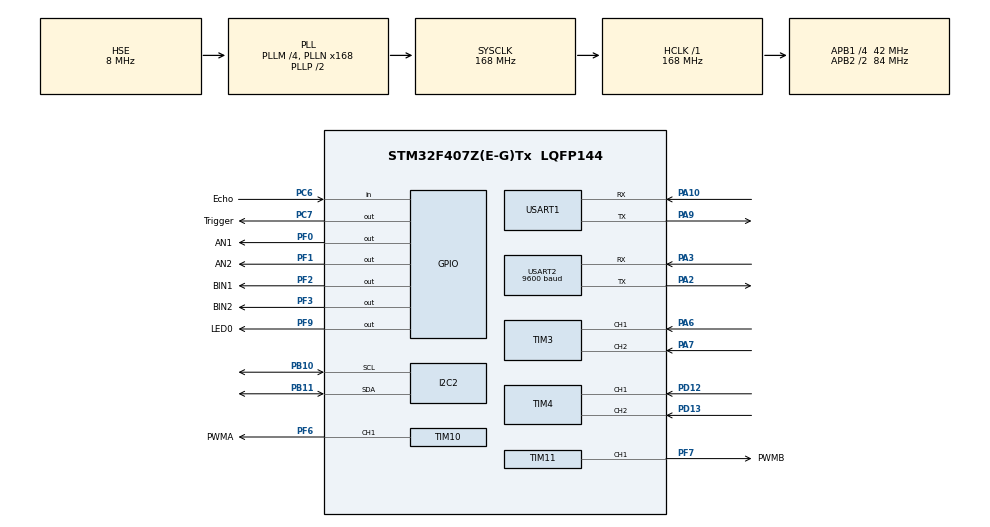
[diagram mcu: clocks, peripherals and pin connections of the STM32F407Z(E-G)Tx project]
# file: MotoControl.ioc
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Mcu.Family=STM32F4
Mcu.Name=STM32F407Z(E-G)Tx
Mcu.Package=LQFP144
NVIC.PriorityGroup=NVIC_PRIORITYGROUP_4
NVIC.TIM6_DAC_IRQn=true\:0\:0\:false\:false\:true\:true\:true\:true
NVIC.USART1_IRQn=true\:0\:0\:false\:false\:true\:true\:true\:true
NVIC.USART2_IRQn=true\:0\:0\:false\:false\:true\:true\:true\:true
PA10.Mode=Asynchronous
PA10.Signal=USART1_RX
PA13.Mode=Serial_Wire
PA13.Signal=SYS_JTMS-SWDIO
PA14.Mode=Serial_Wire
PA14.Signal=SYS_JTCK-SWCLK
PA2.Mode=Asynchronous
PA2.Signal=USART2_TX
PA3.Mode=Asynchronous
PA3.Signal=USART2_RX
PA6.Signal=S_TIM3_CH1
PA7.Signal=S_TIM3_CH2
PA9.Mode=Asynchronous
PA9.Signal=USART1_TX
PB10.Mode=I2C
PB10.Signal=I2C2_SCL
PB11.Mode=I2C
PB11.Signal=I2C2_SDA
PC6.GPIO_Label=Echo
PC6.Signal=GPIO_Input
PC7.GPIO_Label=Trigger
PC7.Signal=GPIO_Output
PD12.Signal=S_TIM4_CH1
PD13.Signal=S_TIM4_CH2
PF0.GPIO_Label=AN1
PF0.Signal=GPIO_Output
PF1.GPIO_Label=AN2
PF1.Signal=GPIO_Output
PF2.GPIO_Label=BIN1
PF2.Signal=GPIO_Output
PF3.GPIO_Label=BIN2
PF3.Signal=GPIO_Output
PF6.GPIO_Label=PWMA
PF6.Signal=S_TIM10_CH1
PF7.GPIO_Label=PWMB
PF7.Signal=S_TIM11_CH1
PF9.GPIO_Label=LED0
PF9.Signal=GPIO_Output
PH0-OSC_IN.Mode=HSE-External-Oscillator
PH0-OSC_IN.Signal=RCC_OSC_IN
PH1-OSC_OUT.Mode=HSE-External-Oscillator
PH1-OSC_OUT.Signal=RCC_OSC_OUT
ProjectManager.HeapSize=0x200
ProjectManager.StackSize=0x400
ProjectManager.TargetToolchain=MDK-ARM V5.32
RCC.48MHZClocksFreq_Value=84000000
RCC.AHBFreq_Value=168000000
RCC.APB1CLKDivider=RCC_HCLK_DIV4
RCC.APB1Freq_Value=42000000
RCC.APB1TimFreq_Value=84000000
RCC.APB2CLKDivider=RCC_HCLK_DIV2
RCC.APB2Freq_Value=84000000
RCC.APB2TimFreq_Value=168000000
RCC.CortexFreq_Value=168000000
RCC.HCLKFreq_Value=168000000
RCC.HSE_VALUE=8000000
RCC.HSI_VALUE=16000000
RCC.LSE_VALUE=32768
RCC.PLLM=4
RCC.PLLN=168
RCC.PLLSourceVirtual=RCC_PLLSOURCE_HSE
RCC.SYSCLKFreq_VALUE=168000000
RCC.SYSCLKSource=RCC_SYSCLKSOURCE_PLLCLK
RCC.VCOOutputFreq_Value=336000000
SH.S_TIM10_CH1.0=TIM10_CH1,PWM Generation1 CH1
SH.S_TIM11_CH1.0=TIM11_CH1,PWM Generation1 CH1
SH.S_TIM3_CH1.0=TIM3_CH1,Encoder_Interface
SH.S_TIM3_CH2.0=TIM3_CH2,Encoder_Interface
SH.S_TIM4_CH1.0=TIM4_CH1,Encoder_Interface
SH.S_TIM4_CH2.0=TIM4_CH2,Encoder_Interface
TIM10.Channel=TIM_CHANNEL_1
TIM10.Period=99
TIM10.Prescaler=83
TIM11.Channel=TIM_CHANNEL_1
TIM11.Period=99
TIM11.Prescaler=83
TIM2.Prescaler=167
TIM3.EncoderMode=TIM_ENCODERMODE_TI12
TIM4.EncoderMode=TIM_ENCODERMODE_TI12
TIM6.AutoReloadPreload=TIM_AUTORELOAD_PRELOAD_ENABLE
TIM6.Period=9999
TIM6.Prescaler=83
USART1.VirtualMode=VM_ASYNC
USART2.BaudRate=9600
USART2.VirtualMode=VM_ASYNC
VP_TIM10_VS_ClockSourceINT.Mode=Enable_Timer
VP_TIM11_VS_ClockSourceINT.Mode=Enable_Timer
VP_TIM2_VS_ClockSourceINT.Mode=Internal
VP_TIM6_VS_ClockSourceINT.Mode=Enable_Timer
board=custom

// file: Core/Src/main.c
/* USER CODE BEGIN Header */
/**
  ******************************************************************************
  * @file           : main.c
  * @brief          : Main program body
  ******************************************************************************
  * @attention
  *
  * Copyright (c) 2026 STMicroelectronics.
  * All rights reserved.
  *
  * This software is licensed under terms that can be found in the LICENSE file
  * in the root directory of this software component.
  * If no LICENSE file comes with this software, it is provided AS-IS.
  *
  ******************************************************************************
  */
/* USER CODE END Header */
#include "main.h"
#include "i2c.h"
#include "tim.h"
#include "usart.h"
#include "gpio.h"

/* USER CODE BEGIN PV */
#define PI 3.1415926f

// --- 小车物理参数配置区（以后换硬件只改这里） ---
#define ENCODER_PPR         13.0f   // 编码器线数 (电机转一圈的脉冲数)
#define ENCODER_MULTIPLIER  4.0f    // 四倍频计数 (A/B相上下沿都算)
#define GEAR_RATIO          20.0f   // 减速比
#define WHEEL_RADIUS_MM     24.0f   // 轮子半径 (毫米) (2.4cm = 24mm)
#define CONTROL_PERIOD_MS   10.0f   // PID控制周期 (毫秒)，对应TIM6的中断时间

// --- 自动推导的常量 ---

// 轮子转一圈总共的脉冲数： 13 * 4 * 20 = 1040
#define PULSES_PER_WHEEL_REV (ENCODER_PPR * ENCODER_MULTIPLIER * GEAR_RATIO)

// 轮子的周长 (毫米)： 2 * PI * 24 ≈ 150.8 mm
#define WHEEL_CIRCUMFERENCE  (2.0f * PI * WHEEL_RADIUS_MM)

// 最终的速度换算系数
// 公式推导： (1000ms / 控制周期) * (轮子周长 / 轮子一圈脉冲数)
// 现在代入： (1000 / 10) * (150.8 / 1040) = 100 * 0.145 = 14.5
#define SPEED_COEFFICIENT    ((1000.0f / CONTROL_PERIOD_MS) * (WHEEL_CIRCUMFERENCE / PULSES_PER_WHEEL_REV))

// --- 1. 电机和PID结构体 ---
typedef struct {
    float target_speed; // 目标速度 (mm/s)
    float actual_speed; // 实际速度 (mm/s)
    float Kp, Ki, Kd;
    float error, last_error, prev_error;
    float pid_out;
    TIM_HandleTypeDef* encoder_tim;
    int16_t last_count;
	  float total_pulses;

} Wheel_t;

// 实例化左右轮（假设左轮用TIM3，右轮用TIM4，PID参数先给个基础值）
Wheel_t Wheel_Left  = {0, 0, 0.15f, 0.05f, 0.0, 0, 0, 0, 0, &htim3, 0, 0};
Wheel_t Wheel_Right = {0, 0, 0.15f, 0.05f, 0.0, 0, 0, 0, 0, &htim4, 0, 0};

// --- 2. 串口接收相关变量 ---
uint8_t rx_data;          // 接收单个字节
uint8_t rx_data2;          // 接收单个字节
char rx_buffer[50];       // 接收字符串缓冲区
uint8_t rx_index = 0;     // 缓冲区索引
uint8_t rx_flag = 0;      // 接收完成标志

// --- 3. 串口打印计时 ---
uint32_t print_time = 0;

uint8_t square_state = 0; // 0:直行, 1:停止+准备转向, 2:转向, 3:停止+准备直行, 4:完成

// 串口2协议接收状态机
typedef enum {
    WAIT_HEADER1,
    WAIT_HEADER2,
    WAIT_LEN,
    WAIT_PAYLOAD,
    WAIT_CHECKSUM
} ParseState;

ParseState uart2_state = WAIT_HEADER1;
uint8_t uart2_rx_buf[20]; // 接收缓冲区
uint8_t uart2_rx_index = 0;
uint32_t uart2_tx_time = 0; // 串口2发送反馈的定时器
uint32_t last_rx_tick = 0;

// 累加和校验函数
uint8_t calc_checksum(uint8_t *data, uint8_t len) {
    uint8_t sum = 0;
    for (uint8_t i = 0; i < len; i++) sum += data[i];
    return sum;
}

float target_yaw = 0.0;       // 目标航向 (起步时记录一次)
uint8_t first_yaw_flag = 0;   // 标志位：是否记录了初始朝向

// 超声波引脚定义（根据你的实际接线修改）
#define TRIG_PIN GPIO_PIN_7
#define TRIG_PORT GPIOC
#define ECHO_PIN GPIO_PIN_6
#define ECHO_PORT GPIOC

float current_distance = 0.0f; // 存放当前距离 (厘米)

/* USER CODE END PV */

void SystemClock_Config(void);

/* USER CODE BEGIN 0 */
#include <stdio.h>
#include <stdlib.h> // 用于 atof/atoi
#include <string.h>
#include <math.h>
#include "MPU6050.h"
#include "inv_mpu.h"
#include "inv_mpu_dmp_motion_driver.h"

// 超声波测距函数
float Get_Distance(void)
{
    uint32_t timeout = 0;
    uint32_t start_time = 0;
    uint32_t end_time = 0;

    // 1. 给 Trig 一个 10us 的高电平脉冲
    HAL_GPIO_WritePin(TRIG_PORT, TRIG_PIN, GPIO_PIN_SET);
    delay_us(10);
    HAL_GPIO_WritePin(TRIG_PORT, TRIG_PIN, GPIO_PIN_RESET);

    // 2. 等待 Echo 变高 (带有超时防死锁)
    while (HAL_GPIO_ReadPin(ECHO_PORT, ECHO_PIN) == GPIO_PIN_RESET) {
        timeout++;
        if (timeout > 100000) return 0.0f; // 超时，返回 0
    }

    // 3. 记录高电平开始的时间
    __HAL_TIM_SET_COUNTER(&htim2, 0); // 清零定时器
    HAL_TIM_Base_Start(&htim2);       // 开启定时器

    // 4. 等待 Echo 变低 (带有超时防死锁)
    while (HAL_GPIO_ReadPin(ECHO_PORT, ECHO_PIN) == GPIO_PIN_SET) {
        // 如果计数器超过 60000（即 60ms），说明距离超过 10 米，或者模块坏了
        if (__HAL_TIM_GET_COUNTER(&htim2) > 60000) {
            HAL_TIM_Base_Stop(&htim2);
            return 0.0f;
        }
    }

    // 5. 记录结束时间
    end_time = __HAL_TIM_GET_COUNTER(&htim2);
    HAL_TIM_Base_Stop(&htim2); // 关闭定时器

    // 6. 计算距离（单位：厘米）
    // 时间单位是微秒，声速 340m/s = 34cm/ms = 0.034cm/us
    // 距离 = (高电平时间 * 0.034) / 2
    float dist = (end_time * 0.034f) / 2.0f;

    // 7. 简单滤波，剔除异常值（比如超过 4 米或小于 2 厘米）
    if (dist > 400.0f || dist < 2.0f) {
        return 0.0f;
    }

    return dist;
}

// 计算单个轮子的PID
void Calc_Wheel_PID(Wheel_t* wheel) {

    // 1. 读取编码器并计算实际速度
    int16_t current_count = (int16_t)__HAL_TIM_GET_COUNTER(wheel->encoder_tim);
    int16_t speed_pulses = current_count - wheel->last_count;
    wheel->last_count = current_count;

		if (speed_pulses > 20 || speed_pulses < -20) {
			HAL_GPIO_TogglePin(GPIOF, GPIO_PIN_9); // 如果卡顿时 LED 闪了，就100%是编码器干扰
	  }

		if (speed_pulses > 50) speed_pulses = 50;
    if (speed_pulses < -50) speed_pulses = -50;

		wheel->total_pulses += (float)speed_pulses;
    wheel->actual_speed = (float)speed_pulses * 14.5; // 10ms周期的系数

		//wheel->pid_out = wheel->target_speed;
	  //return;

    // 2. 计算误差
    wheel->error = wheel->target_speed - wheel->actual_speed;

    // 3. 增量式 PID
    float p_term = wheel->Kp * (wheel->error - wheel->last_error);
    float i_term = wheel->Ki * wheel->error;
    float d_term = wheel->Kd * (wheel->error - 2 * wheel->last_error + wheel->prev_error);

    wheel->pid_out += (p_term + i_term + d_term);

    // 4. 限幅 (-99 到 99)
    if (wheel->pid_out > 99.0)  wheel->pid_out = 99.0;
    if (wheel->pid_out < -99.0) wheel->pid_out = -99.0;

    // 5. 更新历史
    wheel->prev_error = wheel->last_error;
    wheel->last_error = wheel->error;
}

// 重定向 printf 到 USART1
#ifdef __GNUC__
#define PUTCHAR_PROTOTYPE int __io_putchar(int ch)
#else
#define PUTCHAR_PROTOTYPE int fputc(int ch, FILE *f)
#endif

PUTCHAR_PROTOTYPE
{
    // 注意：这里默认你用 USART1 打印，如果你的串口是其他句柄，把 huart1 换掉
    HAL_UART_Transmit(&huart1, (uint8_t *)&ch, 1, HAL_MAX_DELAY);
    return ch;
}

/* USER CODE END 0 */

int main(void)
{

  /* MCU Configuration--------------------------------------------------------*/

  /* Reset of all peripherals, Initializes the Flash interface and the Systick. */
  HAL_Init();

  /* Configure the system clock */
  SystemClock_Config();

  /* Initialize all configured peripherals */
  MX_GPIO_Init();
  MX_TIM3_Init();
  MX_TIM4_Init();
  MX_TIM6_Init();
  MX_TIM10_Init();
  MX_TIM11_Init();
  MX_USART1_UART_Init();
  MX_USART2_UART_Init();
  MX_I2C2_Init();
  MX_TIM2_Init();
  /* USER CODE BEGIN 2 */
	// 1. 启动 PWM (左轮PF6->TIM10, 右轮PF7->TIM11)
  HAL_TIM_PWM_Start(&htim10, TIM_CHANNEL_1);
  HAL_TIM_PWM_Start(&htim11, TIM_CHANNEL_1);

  // 2. 启动编码器 (左轮TIM3, 右轮TIM4)
  HAL_TIM_Encoder_Start(&htim3, TIM_CHANNEL_ALL);
  HAL_TIM_Encoder_Start(&htim4, TIM_CHANNEL_ALL);

  // 3. 启动 PID 心跳定时器 (TIM6, 10ms)
  HAL_TIM_Base_Start_IT(&htim6);

  // 4. 启动串口中断接收（接收树莓派指令）
  HAL_UART_Receive_IT(&huart1, &rx_data, 1);
	HAL_UART_Receive_IT(&huart2, &rx_data2, 1);

	// ==================== MPU6050 通信测试 (I2C2) ====================
  /*uint8_t mpu_id = 0;
  uint8_t tx_data = 0x75; // 要读取的寄存器地址 (WHO_AM_I)

  // 注意：这里换成了 &hi2c2
  HAL_StatusTypeDef status = HAL_I2C_Master_Transmit(&hi2c2, (0x68 << 1), &tx_data, 1, 100);

  if (status == HAL_OK) {
      // 注意：这里也换成了 &hi2c2
      status = HAL_I2C_Master_Receive(&hi2c2, (0x68 << 1), &mpu_id, 1, 100);
      if (status == HAL_OK) {
          char msg[50];
          sprintf(msg, "MPU6050 ID: 0x%02X\r\n", mpu_id);
          HAL_UART_Transmit(&huart1, (uint8_t*)msg, strlen(msg), 100);
      } else {
          HAL_UART_Transmit(&huart1, (uint8_t*)"I2C Read Failed\r\n", 17, 100);
      }
  } else {
      HAL_UART_Transmit(&huart1, (uint8_t*)"I2C Transmit Failed\r\n", 22, 100);
  }*/
  // ========================================================
	uint8_t tx_buf[100];
  uint8_t mpu_id = 0;
	//IIC_Init();
  delay_init();
  HAL_UART_Transmit(&huart1, (uint8_t *)"Init MPU6050...\r\n", 17, 100);
  MPU6050_initialize();
  HAL_UART_Transmit(&huart1, (uint8_t *)"Init DMP...\r\n", 13, 100);
  DMP_Init();
  HAL_UART_Transmit(&huart1, (uint8_t *)"DMP Init Success!\r\n", 19, 100);

	//int ret = i2cRead(0x68, 0x75, 1, &mpu_id);

  /* USER CODE END 2 */

  /* Infinite loop */
  /* USER CODE BEGIN WHILE */
	float target_distance = 500.0f * 6.896f; // 直行 500mm 需要的脉冲数 (3448)
  float target_angle = 812.0f;             // 转 90 度需要的脉冲数 (假设轮距 150mm)
  uint8_t square_round = 0;                // 记录走了几条边了
  uint8_t state = 0;                       // 状态机
  uint32_t state_timer = 0;
	uint8_t raw_buf[14];

  while (1)
  {
		  //直接读取6轴数据
		  /*MPU6050_Get_Accelscope();
		  MPU6050_Get_Gyroscope();
      sprintf(tx_buf, "Accel:%d %d %d\r\n", accel[0], accel[1], accel[2]);
      HAL_UART_Transmit(&huart1, (uint8_t*)tx_buf, strlen(tx_buf), 100);
      sprintf(tx_buf, "Gyro: %d %d %d\r\n", gyro[0], gyro[1], gyro[2]);
      HAL_UART_Transmit(&huart1, (uint8_t*)tx_buf, strlen(tx_buf), 100);
      HAL_UART_Transmit(&huart1, (uint8_t*)"\r\n", 2, 100);
		  delay_ms(200);
			continue;*/

		  //读取dmp数据
		  Read_DMP();
		  HAL_Delay(10); // 让出 CPU，防止读太频繁

      // 记录第一次静止时的 Yaw 作为初始基准 (0 度)
      if (!first_yaw_flag && Yaw != 0.0) {
          target_yaw = Yaw;
          first_yaw_flag = 1;
      }

#if 0
      // ==================== 新增：航向修正逻辑 ====================
      // 只有当树莓派发来“直行”指令时，才开启航向锁定
      // 如果左右轮目标速度相近（说明没有在转弯）
      if (fabs(Wheel_Left.target_speed) > 10 && fabs(Wheel_Left.target_speed - Wheel_Right.target_speed) < 10)
      {
          // 计算当前航向与目标航向的偏差
          float error_yaw = target_yaw - Yaw;

          // 处理过零度问题（比如从 179 度变到 -179 度）
          if (error_yaw > 180.0f)  error_yaw -= 360.0f;
          if (error_yaw < -180.0f) error_yaw += 360.0f;

          // 比例系数 (Kp)，如果转得太猛就调小，太迟钝就调大
          float kp_yaw = 1.5f;

          // 计算修正量并叠加到左右轮的 PID 目标上
          float correction = error_yaw * kp_yaw;

          Wheel_Left.target_speed  += correction;
          Wheel_Right.target_speed -= correction;

          // 防止修正过度导致速度爆表
          if (Wheel_Left.target_speed > 200) Wheel_Left.target_speed = 200;
          if (Wheel_Right.target_speed > 200) Wheel_Right.target_speed = 200;
      } else {
          // 如果正在原地转弯或倒车，就不断刷新基准航向，免得转完弯后往回疯狂修正
          target_yaw = Yaw;
      }
      // ============================================================
#endif

#if 0 //走正方形测试代码
		// 每 1 秒打印一次里程，方便调试
      if (HAL_GetTick() - print_time >= 1000) {
          print_time = HAL_GetTick();
          char tx_buf[60];
          sprintf(tx_buf, "L_pulses:%.0f, R_pulses:%.0f, State:%d, Round:%d\r\n",
                  Wheel_Left.total_pulses, Wheel_Right.total_pulses, state, square_round);
          HAL_UART_Transmit(&huart1, (uint8_t*)tx_buf, strlen(tx_buf), 100);
      }

      switch (state) {
          case 0: // 直行
              Wheel_Left.target_speed = 300.0f;  // 目标速度 300 mm/s
              Wheel_Right.target_speed = 300.0f;

              // 如果左轮或右轮的总脉冲达到了 500mm 的距离
              if (fabs(Wheel_Left.total_pulses) >= target_distance ||
                  fabs(Wheel_Right.total_pulses) >= target_distance)
              {
                  // 重置脉冲计数，准备转向
                  Wheel_Left.total_pulses = 0;
                  Wheel_Right.total_pulses = 0;
                  state = 1;
                  state_timer = HAL_GetTick();
              }
              break;

          case 1: // 停车 0.5 秒（等惯性消失）
              Wheel_Left.target_speed = 0;
              Wheel_Right.target_speed = 0;
              if (HAL_GetTick() - state_timer >= 500) {
                  state = 2; // 进入转向
              }
              break;

          case 2: // 原地右转 90 度
              // 左轮前进，右轮后退
              Wheel_Left.target_speed = 200.0f;
              Wheel_Right.target_speed = -200.0f;

              // 只要有一个轮子转了足够的角度，就停止
              if (fabs(Wheel_Left.total_pulses) >= target_angle ||
                  fabs(Wheel_Right.total_pulses) >= target_angle)
              {
                  Wheel_Left.total_pulses = 0;
                  Wheel_Right.total_pulses = 0;
                  state = 3;
                  state_timer = HAL_GetTick();
              }
              break;

          case 3: // 停车 0.5 秒（等转向停稳）
              Wheel_Left.target_speed = 0;
              Wheel_Right.target_speed = 0;
              if (HAL_GetTick() - state_timer >= 500) {
                  square_round++; // 完成了一条边
                  if (square_round >= 4) {
                      state = 4; // 4条边走完，结束
                  } else {
                      state = 0; // 继续走下一条边
                  }
              }
              break;

          case 4: // 结束
              Wheel_Left.target_speed = 0;
              Wheel_Right.target_speed = 0;
              break;
      }

#endif

#if 1
		// 1. 解析串口指令
      /*if (rx_flag == 1)
      {
          rx_flag = 0;
          float target_L, target_R;
          // 使用 sscanf 解析 "L300,R300" 格式
          if (sscanf(rx_buffer, "L%f,R%f", &target_L, &target_R) == 2)
          {
              Wheel_Left.target_speed = target_L;
              Wheel_Right.target_speed = target_R;
          }
      }*/

			// ==================== 超声波避障检测 ====================
      static uint32_t last_sonar_time = 0;
      if (HAL_GetTick() - last_sonar_time >= 50) // 每 50ms 测一次
      {
          last_sonar_time = HAL_GetTick();
          current_distance = Get_Distance();

          // 如果前方 20cm 内有障碍物，且当前是在前进或原地不动
          /*if (current_distance > 0 && current_distance < 20.0f)
          {
              // 强制刹车！覆盖树莓派发来的目标速度
              Wheel_Left.target_speed = 0;
              Wheel_Right.target_speed = 0;

              // 可选：如果被挡住，可以强制后退一下
              // Wheel_Left.target_speed = -100;
              // Wheel_Right.target_speed = -100;
          }*/
      }
      // ========================================================

      // 2. 每 200ms 往电脑/树莓派发送一次当前速度反馈 (方便你用串口助手调试)
      if (HAL_GetTick() - print_time >= 200)
      {

          print_time = HAL_GetTick();
          char tx_buf[100];

				  // 打印格式: 实际L, 目标L, 实际R, 目标R, 距离
					sprintf(tx_buf, "AL:%.1f, AR:%.1f, Dist:%.1f cm\r\n",
                  Wheel_Left.actual_speed,
                  Wheel_Right.actual_speed,
                  current_distance); // <-- 新增了距离打印

          HAL_UART_Transmit(&huart1, (uint8_t*)tx_buf, strlen(tx_buf), 100);

      }

			 // ==================== 新增：每 20ms 给树莓派回传状态 ====================
			if (HAL_GetTick() - uart2_tx_time >= 20)
			{
#if 0
				  uart2_tx_time = HAL_GetTick();

					// 构造超级反馈帧 (总长 25 字节)
					uint8_t tx_frame[25];
					tx_frame[0] = 0xAA;
					tx_frame[1] = 0x55;
					tx_frame[2] = 21;   // 长度: Cmd(1) + 速度(4) + IMU(12) + 校验(1) = 21
					tx_frame[3] = 0x83; // 新的超级功能码

					// 1. 速度 (4字节)
					int16_t left_mm_s  = (int16_t)Wheel_Left.actual_speed;
					int16_t right_mm_s = (int16_t)Wheel_Right.actual_speed;
					tx_frame[4] = left_mm_s & 0xFF;   tx_frame[5] = (left_mm_s >> 8) & 0xFF;
					tx_frame[6] = right_mm_s & 0xFF;  tx_frame[7] = (right_mm_s >> 8) & 0xFF;

					// 2. 姿态 (6字节)
					int16_t yaw_100 = (int16_t)(Yaw * 100.0f);
					int16_t pitch_100 = (int16_t)(Pitch * 100.0f);
					int16_t roll_100 = (int16_t)(Roll * 100.0f);
					tx_frame[8] = yaw_100 & 0xFF;   tx_frame[9] = (yaw_100 >> 8) & 0xFF;
					tx_frame[10] = pitch_100 & 0xFF; tx_frame[11] = (pitch_100 >> 8) & 0xFF;
					tx_frame[12] = roll_100 & 0xFF;  tx_frame[13] = (roll_100 >> 8) & 0xFF;

					// 3. 角速度 Z (2字节)
					int16_t gz = gyro[2];
					tx_frame[14] = gz & 0xFF;  tx_frame[15] = (gz >> 8) & 0xFF;

					// 4. 加速度 X, Y (4字节)
					int16_t ax = accel[0];
					int16_t ay = accel[1];
					tx_frame[16] = ax & 0xFF;  tx_frame[17] = (ax >> 8) & 0xFF;
					tx_frame[18] = ay & 0xFF;  tx_frame[19] = (ay >> 8) & 0xFF;

					// 5. 校验和 (长度+cmd+数据 = 21字节)
					uint8_t sum = 0;
					for(int i = 2; i < 24; i++) {
							sum += tx_frame[i];
					}
					tx_frame[24] = sum;

					// 一次性发出去！
					HAL_UART_Transmit(&huart2, tx_frame, 25, 20);
#endif

#if 1
					uart2_tx_time = HAL_GetTick();

					// 构造反馈帧
					uint8_t tx_frame[9];
					tx_frame[0] = 0xAA;
					tx_frame[1] = 0x55;
					tx_frame[2] = 5;    // 长度
					tx_frame[3] = 0x81; // 功能码：状态反馈
					// 将实际速度 float 转为 int16_t (注意不要超出范围)
					int16_t left_mm_s  = (int16_t)Wheel_Left.actual_speed;
					int16_t right_mm_s = (int16_t)Wheel_Right.actual_speed;
					tx_frame[4] = left_mm_s & 0xFF;
					tx_frame[5] = (left_mm_s >> 8) & 0xFF;
					tx_frame[6] = right_mm_s & 0xFF;
					tx_frame[7] = (right_mm_s >> 8) & 0xFF;
					// 计算校验和
					tx_frame[8] = calc_checksum(&tx_frame[2], 6);
					// 发送给树莓派
					HAL_UART_Transmit(&huart2, tx_frame, 9, 10);

				  // ==================== 第二帧：发送姿态 (功能码 0x82) ====================
          // 为了防止两帧连发导致树莓派解析错位，中间稍微延时 2ms
          //HAL_Delay(5);

					uint8_t tx_imu[17];
          tx_imu[0] = 0xAA;
          tx_imu[1] = 0x55;
          tx_imu[2] = 13;
          tx_imu[3] = 0x82;

          int16_t yaw_100 = (int16_t)(Yaw * 100.0f);
          int16_t pitch_100 = (int16_t)(Pitch * 100.0f);
          int16_t roll_100 = (int16_t)(Roll * 100.0f);

          tx_imu[4] = yaw_100 & 0xFF;
          tx_imu[5] = (yaw_100 >> 8) & 0xFF;
          tx_imu[6] = pitch_100 & 0xFF;
          tx_imu[7] = (pitch_100 >> 8) & 0xFF;
          tx_imu[8] = roll_100 & 0xFF;
          tx_imu[9] = (roll_100 >> 8) & 0xFF;

          int16_t gyro_z = gyro[2];
          tx_imu[10] = gyro_z & 0xFF;
          tx_imu[11] = (gyro_z >> 8) & 0xFF;

          int16_t accel_x = accel[0];
          int16_t accel_y = accel[1];
          tx_imu[12] = accel_x & 0xFF;
          tx_imu[13] = (accel_x >> 8) & 0xFF;
          tx_imu[14] = accel_y & 0xFF;
          tx_imu[15] = (accel_y >> 8) & 0xFF;

          tx_imu[16] = calc_checksum(&tx_imu[2], 13);

          HAL_UART_Transmit(&huart2, tx_imu, 17, 100);

					// ==================== 第三帧：发送超声波距离 (功能码 0x84) ====================
          //HAL_Delay(5); // 给树莓派留点处理时间

          uint8_t tx_sonar[9];
          tx_sonar[0] = 0xAA;
          tx_sonar[1] = 0x55;
          tx_sonar[2] = 5;    // 长度: Cmd(1) + 数据(2) + 保留(2)
          tx_sonar[3] = 0x84;  // 功能码

          uint16_t dist_cm = (uint16_t)current_distance; // 转成整数厘米
          tx_sonar[4] = dist_cm & 0xFF;
          tx_sonar[5] = (dist_cm >> 8) & 0xFF;
          tx_sonar[6] = 0x00;
          tx_sonar[7] = 0x00;

          tx_sonar[8] = calc_checksum(&tx_sonar[2], 6);

          HAL_UART_Transmit(&huart2, tx_sonar, 9, 100);
#endif
			}

#else
// 1. 接收串口指令
      if (rx_flag == 1)
      {
          rx_flag = 0;

          // 发送 '1' 正转 20% 速度
          if (rx_buffer[0] == '1') {

              // 左轮正转，固定给 20 的占空比
              HAL_GPIO_WritePin(GPIOF, GPIO_PIN_0, GPIO_PIN_SET);
              HAL_GPIO_WritePin(GPIOF, GPIO_PIN_1, GPIO_PIN_RESET);
              __HAL_TIM_SET_COMPARE(&htim10, TIM_CHANNEL_1, 20); // 固定 PWM=20

              // 右轮正转，固定给 20 的占空比
              HAL_GPIO_WritePin(GPIOF, GPIO_PIN_2, GPIO_PIN_SET);
              HAL_GPIO_WritePin(GPIOF, GPIO_PIN_3, GPIO_PIN_RESET);
              __HAL_TIM_SET_COMPARE(&htim11, TIM_CHANNEL_1, 20);
          }
          // 发送 '2' 反转 20% 速度
          else if (rx_buffer[0] == '2') {
              // 左轮反转
              HAL_GPIO_WritePin(GPIOF, GPIO_PIN_0, GPIO_PIN_RESET);
              HAL_GPIO_WritePin(GPIOF, GPIO_PIN_1, GPIO_PIN_SET);
              __HAL_TIM_SET_COMPARE(&htim10, TIM_CHANNEL_1, 20);

              // 右轮反转
              HAL_GPIO_WritePin(GPIOF, GPIO_PIN_2, GPIO_PIN_RESET);
              HAL_GPIO_WritePin(GPIOF, GPIO_PIN_3, GPIO_PIN_SET);
              __HAL_TIM_SET_COMPARE(&htim11, TIM_CHANNEL_1, 20);
          }
          // 发送 '0' 停止
          else if (rx_buffer[0] == '0') {
              __HAL_TIM_SET_COMPARE(&htim10, TIM_CHANNEL_1, 0);
              __HAL_TIM_SET_COMPARE(&htim11, TIM_CHANNEL_1, 0);
          }
      }

      // 2. 每 200ms 打印一次速度
      if (HAL_GetTick() - print_time >= 200)
      {
          print_time = HAL_GetTick();
          char tx_buf[60];
          sprintf(tx_buf, "AL:%.1f, AR:%.1f\r\n", Wheel_Left.actual_speed, Wheel_Right.actual_speed);
          HAL_UART_Transmit(&huart1, (uint8_t*)tx_buf, strlen(tx_buf), 100);
      }
#endif

    /* USER CODE END WHILE */

  }
}

void SystemClock_Config(void)
{
  RCC_OscInitTypeDef RCC_OscInitStruct = {0};
  RCC_ClkInitTypeDef RCC_ClkInitStruct = {0};

  /** Configure the main internal regulator output voltage
  */
  __HAL_RCC_PWR_CLK_ENABLE();
  __HAL_PWR_VOLTAGESCALING_CONFIG(PWR_REGULATOR_VOLTAGE_SCALE1);

  /** Initializes the RCC Oscillators according to the specified parameters
  * in the RCC_OscInitTypeDef structure.
  */
  RCC_OscInitStruct.OscillatorType = RCC_OSCILLATORTYPE_HSE;
  RCC_OscInitStruct.HSEState = RCC_HSE_ON;
  RCC_OscInitStruct.PLL.PLLState = RCC_PLL_ON;
  RCC_OscInitStruct.PLL.PLLSource = RCC_PLLSOURCE_HSE;
  RCC_OscInitStruct.PLL.PLLM = 4;
  RCC_OscInitStruct.PLL.PLLN = 168;
  RCC_OscInitStruct.PLL.PLLP = RCC_PLLP_DIV2;
  RCC_OscInitStruct.PLL.PLLQ = 4;
  if (HAL_RCC_OscConfig(&RCC_OscInitStruct) != HAL_OK)
  {
    Error_Handler();
  }

  /** Initializes the CPU, AHB and APB buses clocks
  */
  RCC_ClkInitStruct.ClockType = RCC_CLOCKTYPE_HCLK|RCC_CLOCKTYPE_SYSCLK
                              |RCC_CLOCKTYPE_PCLK1|RCC_CLOCKTYPE_PCLK2;
  RCC_ClkInitStruct.SYSCLKSource = RCC_SYSCLKSOURCE_PLLCLK;
  RCC_ClkInitStruct.AHBCLKDivider = RCC_SYSCLK_DIV1;
  RCC_ClkInitStruct.APB1CLKDivider = RCC_HCLK_DIV4;
  RCC_ClkInitStruct.APB2CLKDivider = RCC_HCLK_DIV2;

  if (HAL_RCC_ClockConfig(&RCC_ClkInitStruct, FLASH_LATENCY_5) != HAL_OK)
  {
    Error_Handler();
  }
}

/* USER CODE BEGIN 4 */
// --- 1. 定时器中断回调：处理 PID 和 电机输出 ---
void HAL_TIM_PeriodElapsedCallback(TIM_HandleTypeDef *htim)
{
#if 1
    if (htim->Instance == TIM6) // 10ms 心跳
    {
        // 计算左轮PID
        Calc_Wheel_PID(&Wheel_Left);

			  int32_t left_pwm = (int32_t)Wheel_Left.pid_out;
        /*if (Wheel_Left.target_speed > 0.1f || Wheel_Left.target_speed < -0.1f) {
            // 目标不是停止状态
            if (left_pwm > 0 && left_pwm < 15) left_pwm = 10;   // 正转死区补偿
            if (left_pwm < 0 && left_pwm > -15) left_pwm = -10; // 反转死区补偿
        }*/

        // 输出左轮
        if (left_pwm >= 0) {
            HAL_GPIO_WritePin(GPIOF, GPIO_PIN_0, GPIO_PIN_SET);   // AIN1
            HAL_GPIO_WritePin(GPIOF, GPIO_PIN_1, GPIO_PIN_RESET); // AIN2
            __HAL_TIM_SET_COMPARE(&htim10, TIM_CHANNEL_1, (uint32_t)left_pwm);
        } else {
            HAL_GPIO_WritePin(GPIOF, GPIO_PIN_0, GPIO_PIN_RESET);
            HAL_GPIO_WritePin(GPIOF, GPIO_PIN_1, GPIO_PIN_SET);
            __HAL_TIM_SET_COMPARE(&htim10, TIM_CHANNEL_1, (uint32_t)(-left_pwm));
        }

        // 计算右轮PID
        Calc_Wheel_PID(&Wheel_Right);

				int32_t right_pwm = (int32_t)Wheel_Right.pid_out;
        /*if (Wheel_Right.target_speed > 0.1f || Wheel_Right.target_speed < -0.1f) {
            if (right_pwm > 0 && right_pwm < 15) right_pwm = 10;
            if (right_pwm < 0 && right_pwm > -15) right_pwm = -10;
        }*/
        // 输出右轮
        if (right_pwm >= 0) {
            HAL_GPIO_WritePin(GPIOF, GPIO_PIN_2, GPIO_PIN_SET);   // BIN1
            HAL_GPIO_WritePin(GPIOF, GPIO_PIN_3, GPIO_PIN_RESET); // BIN2
            __HAL_TIM_SET_COMPARE(&htim11, TIM_CHANNEL_1, (uint32_t)right_pwm);
        } else {
            HAL_GPIO_WritePin(GPIOF, GPIO_PIN_2, GPIO_PIN_RESET);
            HAL_GPIO_WritePin(GPIOF, GPIO_PIN_3, GPIO_PIN_SET);
            __HAL_TIM_SET_COMPARE(&htim11, TIM_CHANNEL_1, (uint32_t)(-right_pwm));
        }
    }

#else
    if (htim->Instance == TIM6) // 10ms 心跳
    {
        // ====== 只测速，不计算 PID ======

        // 1. 读取左轮速度
        int16_t cur_L = (int16_t)__HAL_TIM_GET_COUNTER(&htim3);
        int16_t pulses_L = cur_L - Wheel_Left.last_count;
        Wheel_Left.last_count = cur_L;
        Wheel_Left.actual_speed = (float)pulses_L * SPEED_COEFFICIENT;

        // 2. 读取右轮速度
        int16_t cur_R = (int16_t)__HAL_TIM_GET_COUNTER(&htim4);
        int16_t pulses_R = cur_R - Wheel_Right.last_count;
        Wheel_Right.last_count = cur_R;
        Wheel_Right.actual_speed = (float)pulses_R * SPEED_COEFFICIENT;

        // 注意：这里把 Calc_Wheel_PID 和输出 PWM 的代码全部删掉了！
    }
#endif
}

// --- 2. 串口接收中断回调：解析树莓派指令 ---
// 假设树莓派发送格式为 "L300,R300\n" (L左轮速度, R右轮速度)
void HAL_UART_RxCpltCallback(UART_HandleTypeDef *huart)
{
    if (huart->Instance == USART1)
    {
        if (rx_data == '\n' || rx_data == '\r') // 收到换行符，说明一条指令结束
        {
            rx_buffer[rx_index] = '\0'; // 字符串结尾
            rx_index = 0;
            rx_flag = 1; // 标记接收完成，让主循环去解析
        }
        else if (rx_index < 49) // 防止数组越界
        {
            rx_buffer[rx_index++] = rx_data;
        }

        // 重新开启接收中断，等待下一个字节
        HAL_UART_Receive_IT(&huart1, &rx_data, 1);
    }
		// 判断是不是 USART2 触发的
    if (huart->Instance == USART2)
    {
			  // 【防线1】：如果当前不是找帧头状态，且距离上一次收到数据超过 50ms，说明断包了，强行复位！
        if (uart2_state != WAIT_HEADER1 && (HAL_GetTick() - last_rx_tick > 50)) {
            uart2_state = WAIT_HEADER1;
        }
        last_rx_tick = HAL_GetTick(); // 记录最新接收时间

        // 1. 把收到的数据原样发回去 (Echo)
        //HAL_UART_Transmit(&huart2, &rx_data2, 1, 10);
			switch (uart2_state)
        {
            case WAIT_HEADER1:
                if (rx_data2 == 0xAA) uart2_state = WAIT_HEADER2;
                break;

            case WAIT_HEADER2:
                if (rx_data2 == 0x55) uart2_state = WAIT_LEN;
                else uart2_state = WAIT_HEADER1;
                break;

            case WAIT_LEN:
                uart2_rx_buf[2] = rx_data2; // 记录长度
                uart2_rx_index = 0;
                uart2_state = WAIT_PAYLOAD;
                break;

            case WAIT_PAYLOAD:
                uart2_rx_buf[3 + uart2_rx_index] = rx_data2;
                uart2_rx_index++;
                if (uart2_rx_index >= uart2_rx_buf[2]) {
                    uart2_state = WAIT_CHECKSUM;
                }
                break;

            case WAIT_CHECKSUM:
                {
                    // 校验：长度 + 功能码 + 数据
                    uint8_t calc = calc_checksum(&uart2_rx_buf[2], uart2_rx_buf[2]+1);
                    if (calc == rx_data2)
                    {
                        // 校验通过！判断功能码
                        if (uart2_rx_buf[3] == 0x01) // 速度设置指令
                        {
													  HAL_GPIO_TogglePin(GPIOF, GPIO_PIN_9);
                            // 提取 int16_t 速度 (小端模式)
                            int16_t left_mm_s  = (uart2_rx_buf[5] << 8) | uart2_rx_buf[4];
                            int16_t right_mm_s = (uart2_rx_buf[7] << 8) | uart2_rx_buf[6];

                            // 更新 PID 目标值
                            Wheel_Left.target_speed = (float)left_mm_s;
                            Wheel_Right.target_speed = (float)right_mm_s;
                        }
                    }
                    uart2_state = WAIT_HEADER1; // 重新等待下一帧
                }
                break;
        }

        // 2. 重新开启中断，准备接收下一个字节
        HAL_UART_Receive_IT(&huart2, &rx_data2, 1);
    }
}

void HAL_UART_ErrorCallback(UART_HandleTypeDef *huart)
{
    if (huart->Instance == USART2)
    {
        // 清除所有错误标志（特别是溢出错误 ORE）
        __HAL_UART_CLEAR_OREFLAG(huart);
        __HAL_UART_CLEAR_NEFLAG(huart);
        __HAL_UART_CLEAR_FEFLAG(huart);

        // 重置状态机
        uart2_state = WAIT_HEADER1;

        // 强行重新开启接收中断
        HAL_UART_Receive_IT(&huart2, &rx_data2, 1);
    }
}

/* USER CODE END 4 */

void Error_Handler(void)
{
  __disable_irq();
  while (1)
  {
  }
}
